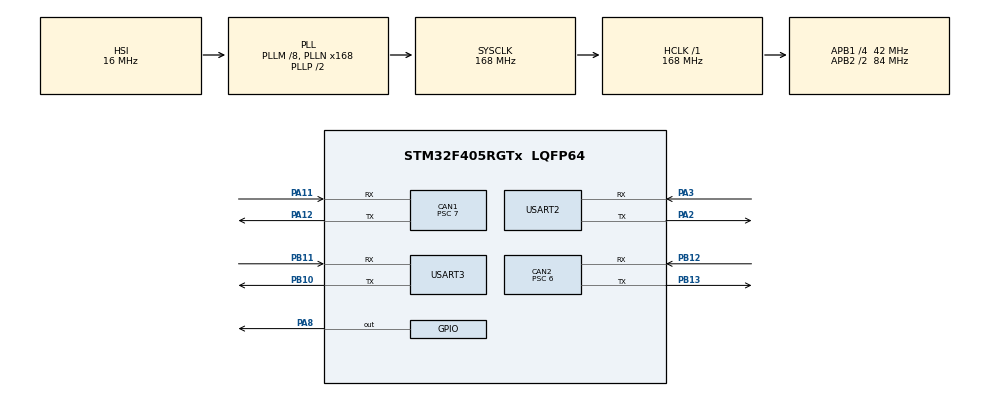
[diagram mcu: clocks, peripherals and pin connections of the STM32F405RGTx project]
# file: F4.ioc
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CAN1.BS1=CAN_BS1_2TQ
CAN1.BS2=CAN_BS2_3TQ
CAN1.CalculateBaudRate=999999
CAN1.CalculateTimeBit=1000
CAN1.CalculateTimeQuantum=166.66666666666669
CAN1.Mode=CAN_MODE_NORMAL
CAN1.Prescaler=7
CAN2.BS1=CAN_BS1_4TQ
CAN2.BS2=CAN_BS2_2TQ
CAN2.CalculateBaudRate=1000000
CAN2.CalculateTimeBit=1000
CAN2.CalculateTimeQuantum=142.85714285714286
CAN2.Mode=CAN_MODE_NORMAL
CAN2.Prescaler=6
Dma.Request0=USART2_RX
Dma.Request1=USART2_TX
Dma.Request2=USART3_RX
Dma.Request3=USART3_TX
Dma.USART2_RX.0.Direction=DMA_PERIPH_TO_MEMORY
Dma.USART2_RX.0.FIFOMode=DMA_FIFOMODE_DISABLE
Dma.USART2_RX.0.Instance=DMA1_Stream5
Dma.USART2_RX.0.MemDataAlignment=DMA_MDATAALIGN_BYTE
Dma.USART2_RX.0.MemInc=DMA_MINC_ENABLE
Dma.USART2_RX.0.Mode=DMA_NORMAL
Dma.USART2_RX.0.PeriphDataAlignment=DMA_PDATAALIGN_BYTE
Dma.USART2_RX.0.PeriphInc=DMA_PINC_DISABLE
Dma.USART2_RX.0.Priority=DMA_PRIORITY_LOW
Dma.USART2_TX.1.Direction=DMA_MEMORY_TO_PERIPH
Dma.USART2_TX.1.FIFOMode=DMA_FIFOMODE_DISABLE
Dma.USART2_TX.1.Instance=DMA1_Stream6
Dma.USART2_TX.1.MemDataAlignment=DMA_MDATAALIGN_BYTE
Dma.USART2_TX.1.MemInc=DMA_MINC_ENABLE
Dma.USART2_TX.1.Mode=DMA_NORMAL
Dma.USART2_TX.1.PeriphDataAlignment=DMA_PDATAALIGN_BYTE
Dma.USART2_TX.1.PeriphInc=DMA_PINC_DISABLE
Dma.USART2_TX.1.Priority=DMA_PRIORITY_LOW
Dma.USART3_RX.2.Direction=DMA_PERIPH_TO_MEMORY
Dma.USART3_RX.2.FIFOMode=DMA_FIFOMODE_DISABLE
Dma.USART3_RX.2.Instance=DMA1_Stream1
Dma.USART3_RX.2.MemDataAlignment=DMA_MDATAALIGN_BYTE
Dma.USART3_RX.2.MemInc=DMA_MINC_ENABLE
Dma.USART3_RX.2.Mode=DMA_NORMAL
Dma.USART3_RX.2.PeriphDataAlignment=DMA_PDATAALIGN_BYTE
Dma.USART3_RX.2.PeriphInc=DMA_PINC_DISABLE
Dma.USART3_RX.2.Priority=DMA_PRIORITY_LOW
Dma.USART3_TX.3.Direction=DMA_MEMORY_TO_PERIPH
Dma.USART3_TX.3.FIFOMode=DMA_FIFOMODE_DISABLE
Dma.USART3_TX.3.Instance=DMA1_Stream3
Dma.USART3_TX.3.MemDataAlignment=DMA_MDATAALIGN_BYTE
Dma.USART3_TX.3.MemInc=DMA_MINC_ENABLE
Dma.USART3_TX.3.Mode=DMA_NORMAL
Dma.USART3_TX.3.PeriphDataAlignment=DMA_PDATAALIGN_BYTE
Dma.USART3_TX.3.PeriphInc=DMA_PINC_DISABLE
Dma.USART3_TX.3.Priority=DMA_PRIORITY_LOW
FREERTOS.Tasks01=defaultTask,0,128,StartDefaultTask,Default,NULL,Dynamic,NULL,NULL
Mcu.Family=STM32F4
Mcu.Name=STM32F405RGTx
Mcu.Package=LQFP64
NVIC.CAN1_RX0_IRQn=true\:5\:0\:false\:false\:true\:true\:true\:true\:true
NVIC.CAN1_RX1_IRQn=true\:5\:0\:false\:false\:true\:true\:true\:true\:true
NVIC.CAN1_SCE_IRQn=true\:5\:0\:false\:false\:true\:true\:true\:true\:true
NVIC.CAN1_TX_IRQn=true\:5\:0\:false\:false\:true\:true\:true\:true\:true
NVIC.DMA1_Stream1_IRQn=true\:5\:0\:false\:false\:true\:true\:false\:true\:true
NVIC.DMA1_Stream3_IRQn=true\:5\:0\:false\:false\:true\:true\:false\:true\:true
NVIC.DMA1_Stream5_IRQn=true\:5\:0\:false\:false\:true\:true\:false\:true\:true
NVIC.DMA1_Stream6_IRQn=true\:5\:0\:false\:false\:true\:true\:false\:true\:true
NVIC.PriorityGroup=NVIC_PRIORITYGROUP_4
NVIC.TIM2_IRQn=true\:15\:0\:false\:false\:true\:false\:false\:true\:true
NVIC.TimeBase=TIM2_IRQn
NVIC.TimeBaseIP=TIM2
NVIC.USART2_IRQn=true\:5\:0\:false\:false\:true\:true\:true\:true\:true
PA11.Mode=CAN_Activate
PA11.Signal=CAN1_RX
PA12.Mode=CAN_Activate
PA12.Signal=CAN1_TX
PA13.Mode=Serial_Wire
PA13.Signal=SYS_JTMS-SWDIO
PA14.Mode=Serial_Wire
PA14.Signal=SYS_JTCK-SWCLK
PA2.Mode=Asynchronous
PA2.Signal=USART2_TX
PA3.Mode=Asynchronous
PA3.Signal=USART2_RX
PA8.PinState=GPIO_PIN_SET
PA8.Signal=GPIO_Output
PB10.Mode=Asynchronous
PB10.Signal=USART3_TX
PB11.Mode=Asynchronous
PB11.Signal=USART3_RX
PB12.Mode=CAN_Activate
PB12.Signal=CAN2_RX
PB13.Mode=CAN_Activate
PB13.Signal=CAN2_TX
PC14-OSC32_IN.Mode=LSE-External-Oscillator
PC14-OSC32_IN.Signal=RCC_OSC32_IN
PC15-OSC32_OUT.Mode=LSE-External-Oscillator
PC15-OSC32_OUT.Signal=RCC_OSC32_OUT
PH0-OSC_IN.Mode=HSE-External-Oscillator
PH0-OSC_IN.Signal=RCC_OSC_IN
PH1-OSC_OUT.Mode=HSE-External-Oscillator
PH1-OSC_OUT.Signal=RCC_OSC_OUT
ProjectManager.HeapSize=0x200
ProjectManager.StackSize=0x400
ProjectManager.TargetToolchain=MDK-ARM V5.32
RCC.48MHZClocksFreq_Value=84000000
RCC.AHBFreq_Value=168000000
RCC.APB1CLKDivider=RCC_HCLK_DIV4
RCC.APB1Freq_Value=42000000
RCC.APB1TimFreq_Value=84000000
RCC.APB2CLKDivider=RCC_HCLK_DIV2
RCC.APB2Freq_Value=84000000
RCC.APB2TimFreq_Value=168000000
RCC.CortexFreq_Value=168000000
RCC.HCLKFreq_Value=168000000
RCC.HSE_VALUE=25000000
RCC.HSI_VALUE=16000000
RCC.PLLM=8
RCC.PLLN=168
RCC.SYSCLKFreq_VALUE=168000000
RCC.SYSCLKSource=RCC_SYSCLKSOURCE_PLLCLK
RCC.VCOOutputFreq_Value=336000000
USART2.VirtualMode=VM_ASYNC
USART3.VirtualMode=VM_ASYNC
VP_FREERTOS_VS_CMSIS_V1.Mode=CMSIS_V1
VP_SYS_VS_tim2.Mode=TIM2
board=custom

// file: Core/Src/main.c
/* USER CODE BEGIN Header */
/**
  ******************************************************************************
  * @file           : main.c
  * @brief          : Main program body
  ******************************************************************************
  * @attention
  *
  * Copyright (c) 2024 STMicroelectronics.
  * All rights reserved.
  *
  * This software is licensed under terms that can be found in the LICENSE file
  * in the root directory of this software component.
  * If no LICENSE file comes with this software, it is provided AS-IS.
  *
  ******************************************************************************
  */
/* USER CODE END Header */
#include "main.h"
#include "cmsis_os.h"
#include "can.h"
#include "dma.h"
#include "usart.h"
#include "gpio.h"

/* USER CODE BEGIN Includes */
#include "string.h"
#include "canconfig.h"
#include "pid.h"
const float M_PI =3.14159;
extern int16_t TotalEncoder;

/* USER CODE END Includes */

/* USER CODE BEGIN PTD */
#include "stdlib.h"
/* USER CODE END PTD */

/* USER CODE BEGIN PV */
TaskHandle_t can_test_Handle = NULL;
pid_struct_t speed_pid;
pid_struct_t location_pid;
extern motor_info_t motor_yaw_info;

float a;
/* USER CODE END PV */

void SystemClock_Config(void);
void MX_FREERTOS_Init(void);

/* USER CODE BEGIN 0 */
double msp(double x, double in_min, double in_max, double out_min, double out_max)//映射函数，将编码器的值（0~8191）转换为弧度制的角度值（-Π~Π）
{
	return (x-in_min)*(out_max-out_min)/(in_max-in_min)+out_min;
}

void can_test(void  * argument)
{
	 HAL_CAN_Start(&hcan1);
   bsp_can1_filter_config();
	 uint8_t Set_GM6020_Data[8];//发送的数据（电压）
	 uint16_t v1  ;
	 float target_speed;
//   Set_GM6020_Data[0]=(v1>>8)&0xff;// 数据解析到数组分配给id号为1 电机
//	 Set_GM6020_Data[1] =  (v1)&0xff;

	for(;;){
    //转化角度
//   	motor_yaw_info.rotor_angle = msp(motor_yaw_info.rotor_angle,0,8191,-2*M_PI,2*M_PI);  //弧度
//		motor_yaw_info.rotor_angle  =motor_yaw_info.rotor_angle/M_PI* 360;
		motor_yaw_info.rotor_angle  =TotalEncoder/8191.0f * 360.0f;
	  target_speed = location_pid_calc(&location_pid,a,motor_yaw_info.rotor_angle); // 位置环输出反馈值给速度环
    v1 = speed_pid_calc(&speed_pid,target_speed,motor_yaw_info.rotor_speed);  //电压/电流配置
	  Set_GM6020_Data[0]=(v1>>8)&0xff;// 数据解析到数组分配给id号为1 电机
	  Set_GM6020_Data[1] =  (v1)&0xff;
    //发送CAN数据信息
     can1_transmit(CAN_ID_STD,0x1FF,0,Set_GM6020_Data,8);

		//接收电机报文
	//	HAL_CAN_RxFifo0MsgPendingCallback(&hcan1);
  //  Can1Receive_motor();
		osDelay(1);

	}

}

/* USER CODE END 0 */

int main(void)
{

  /* MCU Configuration--------------------------------------------------------*/

  /* Reset of all peripherals, Initializes the Flash interface and the Systick. */
  HAL_Init();

  /* Configure the system clock */
  SystemClock_Config();

  /* Initialize all configured peripherals */
  MX_GPIO_Init();
  MX_DMA_Init();
  MX_CAN1_Init();
  MX_CAN2_Init();
  MX_USART2_UART_Init();
  MX_USART3_UART_Init();
  /* USER CODE BEGIN 2 */
	HAL_CAN_ActivateNotification(&hcan1, CAN_IT_RX_FIFO0_MSG_PENDING);

	// pid 初始化
   pid_init(&speed_pid,40,3,0,30000,30000);
	 pid_init(&location_pid,10,0,0,0,300);
//	 GM6020_pid.err[0] = 0;
//	 GM6020_pid.err[1] = 0;

  //创建任务
	xTaskCreate(can_test,"can_test",128,NULL,4,&can_test_Handle);

  /* USER CODE END 2 */

  /* Call init function for freertos objects (in freertos.c) */
  MX_FREERTOS_Init();

  /* Start scheduler */
  osKernelStart();
  /* We should never get here as control is now taken by the scheduler */
  /* Infinite loop */
  while (1)
  {

  }
}

void SystemClock_Config(void)
{
  RCC_OscInitTypeDef RCC_OscInitStruct = {0};
  RCC_ClkInitTypeDef RCC_ClkInitStruct = {0};

  /** Configure the main internal regulator output voltage
  */
  __HAL_RCC_PWR_CLK_ENABLE();
  __HAL_PWR_VOLTAGESCALING_CONFIG(PWR_REGULATOR_VOLTAGE_SCALE1);

  /** Initializes the RCC Oscillators according to the specified parameters
  * in the RCC_OscInitTypeDef structure.
  */
  RCC_OscInitStruct.OscillatorType = RCC_OSCILLATORTYPE_HSI;
  RCC_OscInitStruct.HSIState = RCC_HSI_ON;
  RCC_OscInitStruct.HSICalibrationValue = RCC_HSICALIBRATION_DEFAULT;
  RCC_OscInitStruct.PLL.PLLState = RCC_PLL_ON;
  RCC_OscInitStruct.PLL.PLLSource = RCC_PLLSOURCE_HSI;
  RCC_OscInitStruct.PLL.PLLM = 8;
  RCC_OscInitStruct.PLL.PLLN = 168;
  RCC_OscInitStruct.PLL.PLLP = RCC_PLLP_DIV2;
  RCC_OscInitStruct.PLL.PLLQ = 4;
  if (HAL_RCC_OscConfig(&RCC_OscInitStruct) != HAL_OK)
  {
    Error_Handler();
  }

  /** Initializes the CPU, AHB and APB buses clocks
  */
  RCC_ClkInitStruct.ClockType = RCC_CLOCKTYPE_HCLK|RCC_CLOCKTYPE_SYSCLK
                              |RCC_CLOCKTYPE_PCLK1|RCC_CLOCKTYPE_PCLK2;
  RCC_ClkInitStruct.SYSCLKSource = RCC_SYSCLKSOURCE_PLLCLK;
  RCC_ClkInitStruct.AHBCLKDivider = RCC_SYSCLK_DIV1;
  RCC_ClkInitStruct.APB1CLKDivider = RCC_HCLK_DIV4;
  RCC_ClkInitStruct.APB2CLKDivider = RCC_HCLK_DIV2;

  if (HAL_RCC_ClockConfig(&RCC_ClkInitStruct, FLASH_LATENCY_5) != HAL_OK)
  {
    Error_Handler();
  }
}

void HAL_TIM_PeriodElapsedCallback(TIM_HandleTypeDef *htim)
{
  if (htim->Instance == TIM2) {
    HAL_IncTick();
  }
}

void Error_Handler(void)
{
  __disable_irq();
  while (1)
  {
  }
}

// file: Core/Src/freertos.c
/* USER CODE BEGIN Header */
/**
  ******************************************************************************
  * File Name          : freertos.c
  * Description        : Code for freertos applications
  ******************************************************************************
  * @attention
  *
  * Copyright (c) 2024 STMicroelectronics.
  * All rights reserved.
  *
  * This software is licensed under terms that can be found in the LICENSE file
  * in the root directory of this software component.
  * If no LICENSE file comes with this software, it is provided AS-IS.
  *
  ******************************************************************************
  */
/* USER CODE END Header */

#include "FreeRTOS.h"
#include "task.h"
#include "main.h"
#include "cmsis_os.h"

/* USER CODE BEGIN Includes */
#include "canconfig.h"
#include "stdio.h"
/* USER CODE END Includes */

/* USER CODE BEGIN PTD */
 extern motor_info_t motor_yaw_info;
/* USER CODE END PTD */

osThreadId defaultTaskHandle;

void StartDefaultTask(void const * argument);

void MX_FREERTOS_Init(void); /* (MISRA C 2004 rule 8.1) */

/* GetIdleTaskMemory prototype (linked to static allocation support) */
void vApplicationGetIdleTaskMemory( StaticTask_t **ppxIdleTaskTCBBuffer, StackType_t **ppxIdleTaskStackBuffer, uint32_t *pulIdleTaskStackSize );

/* USER CODE BEGIN GET_IDLE_TASK_MEMORY */
static StaticTask_t xIdleTaskTCBBuffer;
static StackType_t xIdleStack[configMINIMAL_STACK_SIZE];

void vApplicationGetIdleTaskMemory( StaticTask_t **ppxIdleTaskTCBBuffer, StackType_t **ppxIdleTaskStackBuffer, uint32_t *pulIdleTaskStackSize )
{
  *ppxIdleTaskTCBBuffer = &xIdleTaskTCBBuffer;
  *ppxIdleTaskStackBuffer = &xIdleStack[0];
  *pulIdleTaskStackSize = configMINIMAL_STACK_SIZE;
  /* place for user code */
}
/* USER CODE END GET_IDLE_TASK_MEMORY */

void MX_FREERTOS_Init(void) {

  /* Create the thread(s) */
  /* definition and creation of defaultTask */
  osThreadDef(defaultTask, StartDefaultTask, osPriorityNormal, 0, 128);
  defaultTaskHandle = osThreadCreate(osThread(defaultTask), NULL);

}

void StartDefaultTask(void const * argument)
{
  /* USER CODE BEGIN StartDefaultTask */
  /* Infinite loop */
  for(;;)
  {
		printf("%f\n",motor_yaw_info.rotor_speed);
    osDelay(1);
  }
  /* USER CODE END StartDefaultTask */
}
